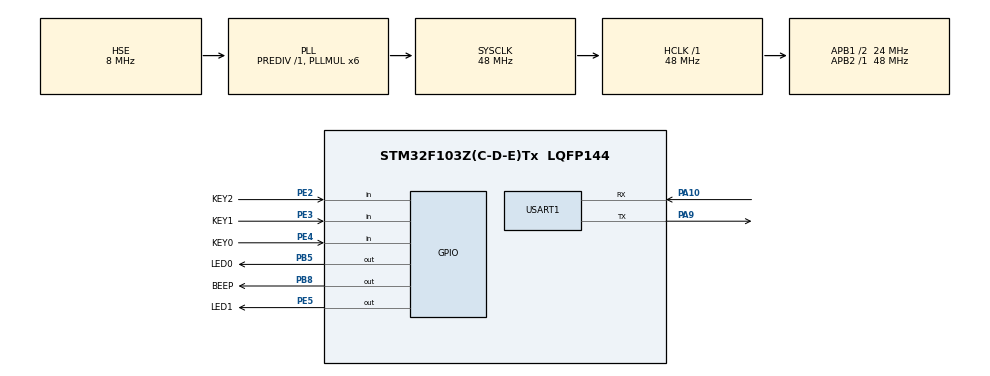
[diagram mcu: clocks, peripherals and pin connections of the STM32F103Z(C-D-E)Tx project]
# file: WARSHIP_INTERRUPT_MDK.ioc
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Mcu.Family=STM32F1
Mcu.Name=STM32F103Z(C-D-E)Tx
Mcu.Package=LQFP144
NVIC.PriorityGroup=NVIC_PRIORITYGROUP_4
NVIC.USART1_IRQn=true\:0\:0\:false\:false\:true\:true\:true\:true
OSC_IN.Mode=HSE-External-Oscillator
OSC_IN.Signal=RCC_OSC_IN
OSC_OUT.Mode=HSE-External-Oscillator
OSC_OUT.Signal=RCC_OSC_OUT
PA0-WKUP.Mode=SYS_WakeUp0
PA0-WKUP.Signal=SYS_WKUP
PA10.Mode=Asynchronous
PA10.Signal=USART1_RX
PA13.Mode=Serial_Wire
PA13.Signal=SYS_JTMS-SWDIO
PA14.Mode=Serial_Wire
PA14.Signal=SYS_JTCK-SWCLK
PA9.Mode=Asynchronous
PA9.Signal=USART1_TX
PB12.Signal=SPI2_NSS
PB5.GPIO_Label=LED0
PB5.GPIO_ModeDefaultOutputPP=GPIO_MODE_OUTPUT_OD
PB5.GPIO_PuPd=GPIO_NOPULL
PB5.PinState=GPIO_PIN_SET
PB5.Signal=GPIO_Output
PB8.GPIO_Label=BEEP
PB8.Signal=GPIO_Output
PC14-OSC32_IN.Mode=LSE-External-Oscillator
PC14-OSC32_IN.Signal=RCC_OSC32_IN
PC15-OSC32_OUT.Mode=LSE-External-Oscillator
PC15-OSC32_OUT.Signal=RCC_OSC32_OUT
PE2.GPIO_Label=KEY2
PE2.Signal=GPIO_Input
PE3.GPIO_Label=KEY1
PE3.Signal=GPIO_Input
PE4.GPIO_Label=KEY0
PE4.Signal=GPIO_Input
PE5.GPIO_Label=LED1
PE5.GPIO_ModeDefaultOutputPP=GPIO_MODE_OUTPUT_OD
PE5.GPIO_PuPd=GPIO_NOPULL
PE5.PinState=GPIO_PIN_SET
PE5.Signal=GPIO_Output
ProjectManager.HeapSize=0x200
ProjectManager.StackSize=0x400
ProjectManager.TargetToolchain=MDK-ARM V5.32
RCC.ADCPresc=RCC_ADCPCLK2_DIV4
RCC.AHBFreq_Value=48000000
RCC.APB1CLKDivider=RCC_HCLK_DIV2
RCC.APB1Freq_Value=24000000
RCC.APB1TimFreq_Value=48000000
RCC.APB2Freq_Value=48000000
RCC.APB2TimFreq_Value=48000000
RCC.HCLKFreq_Value=48000000
RCC.PLLMUL=RCC_PLL_MUL6
RCC.PLLSourceVirtual=RCC_PLLSOURCE_HSE
RCC.SYSCLKFreq_VALUE=48000000
RCC.SYSCLKSource=RCC_SYSCLKSOURCE_PLLCLK
RCC.USBFreq_Value=48000000
USART1.VirtualMode=VM_ASYNC
VP_RTC_VS_RTC_Activate.Mode=RTC_Enabled
board=custom

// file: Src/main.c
/* USER CODE BEGIN Header */
/**
  ******************************************************************************
  * @file           : main.c
  * @brief          : Main program body
  ******************************************************************************
  * @attention
  * 通过串口实现对 LED 的闪烁速度控制

  * Copyright (c) 2026 STMicroelectronics.
  * All rights reserved.
  *
  * This software is licensed under terms that can be found in the LICENSE file
  * in the root directory of this software component.
  * If no LICENSE file comes with this software, it is provided AS-IS.
  *
  ******************************************************************************
  */
/* USER CODE END Header */
#include "main.h"
#include "rtc.h"
#include "usart.h"
#include "gpio.h"

/* USER CODE BEGIN PV */

uint32_t blinkInterval = 1000; // 初始闪烁间隔为1000毫秒
static uint8_t dataRcvd;    // 接收数据标志

/* USER CODE END PV */

void SystemClock_Config(void);

/* USER CODE BEGIN 0 */

void HAL_UART_RxCpltCallback(UART_HandleTypeDef *huart)
{
  if (huart == &huart1) // 检查是否为 USART1
  {
    if(dataRcvd == '1')
    {
      blinkInterval = 1000; // 设置闪烁间隔为1000毫秒
    }
    else if(dataRcvd == '2')
    {
      blinkInterval = 300; // 设置闪烁间隔为300毫秒
    }
    else if(dataRcvd == '3')
    {
      blinkInterval = 50; // 设置闪烁间隔为50毫秒
    }
    HAL_UART_Receive_IT(&huart1, &dataRcvd, 1); // 重新启动串口接收中断
  }
}

/* USER CODE END 0 */

int main(void)
{

  /* MCU Configuration--------------------------------------------------------*/

  /* Reset of all peripherals, Initializes the Flash interface and the Systick. */
  HAL_Init();

  /* Configure the system clock */
  SystemClock_Config();

  /* Initialize all configured peripherals */
  MX_GPIO_Init();
  MX_RTC_Init();
  MX_USART1_UART_Init();

  /* Infinite loop */
  /* USER CODE BEGIN WHILE */
  HAL_UART_Receive_IT(&huart1, &dataRcvd, 1); // 启动串口接收中断

  while (1)
  {
    HAL_GPIO_WritePin(LED0_GPIO_Port, LED0_Pin, GPIO_PIN_RESET);
    HAL_Delay(blinkInterval);
    HAL_GPIO_WritePin(LED0_GPIO_Port, LED0_Pin, GPIO_PIN_SET);
    HAL_Delay(blinkInterval);
    /* USER CODE END WHILE */

  }
}

void SystemClock_Config(void)
{
  RCC_OscInitTypeDef RCC_OscInitStruct = {0};
  RCC_ClkInitTypeDef RCC_ClkInitStruct = {0};
  RCC_PeriphCLKInitTypeDef PeriphClkInit = {0};

  /** Initializes the RCC Oscillators according to the specified parameters
  * in the RCC_OscInitTypeDef structure.
  */
  RCC_OscInitStruct.OscillatorType = RCC_OSCILLATORTYPE_LSI|RCC_OSCILLATORTYPE_HSE;
  RCC_OscInitStruct.HSEState = RCC_HSE_ON;
  RCC_OscInitStruct.HSEPredivValue = RCC_HSE_PREDIV_DIV1;
  RCC_OscInitStruct.HSIState = RCC_HSI_ON;
  RCC_OscInitStruct.LSIState = RCC_LSI_ON;
  RCC_OscInitStruct.PLL.PLLState = RCC_PLL_ON;
  RCC_OscInitStruct.PLL.PLLSource = RCC_PLLSOURCE_HSE;
  RCC_OscInitStruct.PLL.PLLMUL = RCC_PLL_MUL6;
  if (HAL_RCC_OscConfig(&RCC_OscInitStruct) != HAL_OK)
  {
    Error_Handler();
  }

  /** Initializes the CPU, AHB and APB buses clocks
  */
  RCC_ClkInitStruct.ClockType = RCC_CLOCKTYPE_HCLK|RCC_CLOCKTYPE_SYSCLK
                              |RCC_CLOCKTYPE_PCLK1|RCC_CLOCKTYPE_PCLK2;
  RCC_ClkInitStruct.SYSCLKSource = RCC_SYSCLKSOURCE_PLLCLK;
  RCC_ClkInitStruct.AHBCLKDivider = RCC_SYSCLK_DIV1;
  RCC_ClkInitStruct.APB1CLKDivider = RCC_HCLK_DIV2;
  RCC_ClkInitStruct.APB2CLKDivider = RCC_HCLK_DIV1;

  if (HAL_RCC_ClockConfig(&RCC_ClkInitStruct, FLASH_LATENCY_1) != HAL_OK)
  {
    Error_Handler();
  }
  PeriphClkInit.PeriphClockSelection = RCC_PERIPHCLK_RTC;
  PeriphClkInit.RTCClockSelection = RCC_RTCCLKSOURCE_LSI;
  if (HAL_RCCEx_PeriphCLKConfig(&PeriphClkInit) != HAL_OK)
  {
    Error_Handler();
  }
}

void Error_Handler(void)
{
  __disable_irq();
  while (1)
  {
  }
}
